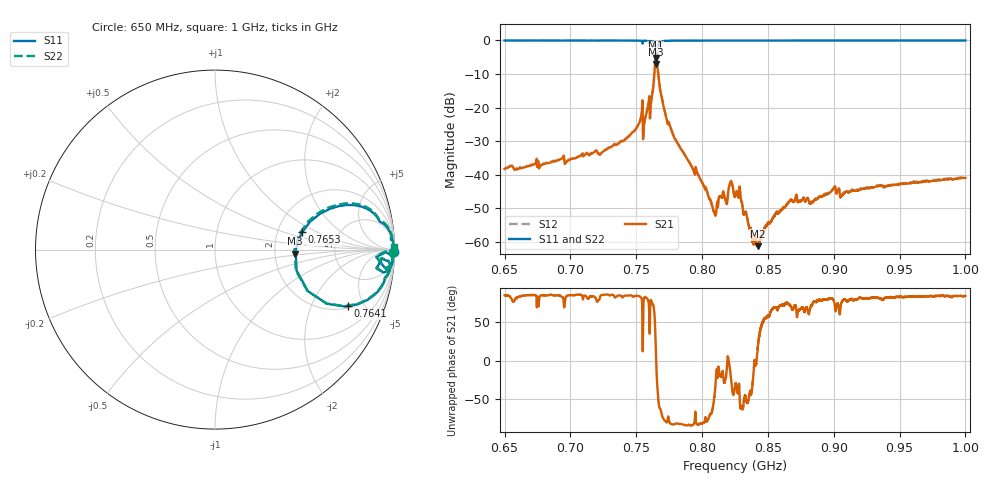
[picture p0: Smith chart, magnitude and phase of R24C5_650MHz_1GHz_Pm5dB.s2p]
!Keysight Technologies,N5221A,MY56011522,A.10.47.06
!Date: Tuesday, September 29, 2020 15:17:58
!Correction: S11(Full 2 Port(1,2))
!S21(Full 2 Port(1,2))
!S12(Full 2 Port(1,2))
!S22(Full 2 Port(1,2))
!S2P File: Measurements: S11, S21, S12, S22:
# Hz S  dB  R 50
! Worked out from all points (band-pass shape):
!   16001 points, 650 MHz to 1 GHz, reference 50 ohm
!   highest |S21| = -5.12 dB at 764.9 MHz (marker M1); lowest = -61.3 dB at 842.3 MHz (marker M2)
!   |S21| within 3 dB of the highest: 764.0912 MHz to 766.1493 MHz (2.058 MHz wide, 0.269 % of centre)
!   lowest |S11| = -7.0 dB at 765 MHz (marker M3), VSWR 2.62, Z = 130 - j7.42 ohm
!   |S11| at or under -10 dB: nowhere
!   |S22| runs from -7.1 to 0.0 dB; largest |S21 - S12| = 0.0074
!   S11 on the Smith chart (normalised r, x): 650 MHz: open; 764.1 MHz: 2.10, -3.79; 765.3 MHz: 2.75, +0.72; 1 GHz: open
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6.5e8  -0.04 -0.8  -38.29 85.4  -38.11 85.2  -0.05 -0.6
7.083406e8  -0.04 -1.1  -34.20 86.0  -34.03 85.8  -0.05 -0.7
7.232812e8  -0.04 -1.3  -33.62 85.4  -33.44 85.3  -0.05 -1.0
7.566406e8  -0.08 -3.9  -23.46 83.2  -23.24 83.0  -0.08 -3.7
7.618469e8  -0.26 -8.5  -16.58 76.1  -16.37 75.8  -0.27 -8.4
7.641438e8  -1.88 -23.1  -7.83 51.4  -7.69 51.0  -1.92 -23.1
7.648875e8  -6.77 -11.6  -5.12 9.9  -5.03 10.1  -6.85 -11.8
7.650188e8  -6.99 -2.9  -5.19 2.6  -5.09 2.8  -7.11 -2.8
7.653031e8  -6.10 11.4  -5.68 -10.6  -5.58 -10.6  -6.20 12.1
7.666812e8  -1.63 17.2  -9.90 -49.9  -9.74 -49.6  -1.67 18.0
7.69e8  -0.44 8.7  -16.26 -68.1  -16.08 -68.0  -0.45 9.3
7.746438e8  -0.14 3.4  -24.38 -76.4  -24.19 -76.4  -0.14 4.0
8.090312e8  -0.04 0.0  -51.06 -51.5  -50.90 -51.3  -0.04 0.3
8.216312e8  -0.10 0.1  -42.24 -17.2  -42.02 -17.4  -0.09 0.4
8.25e8  -0.06 0.1  -46.65 -34.3  -46.41 -34.3  -0.06 0.5
8.282375e8  -0.08 0.2  -44.38 -32.7  -44.17 -32.7  -0.07 0.6
8.422812e8  -0.04 -0.0  -61.29 16.1  -60.81 16.2  -0.03 0.6
8.665625e8  -0.04 -0.4  -47.90 72.9  -47.75 73.1  -0.04 0.2
8.833406e8  -0.04 -0.4  -48.18 72.2  -48.01 72.0  -0.03 0.0
8.99725e8  -0.04 -0.3  -44.20 79.2  -43.97 79.0  -0.01 0.1
9.416812e8  -0.03 -0.4  -43.32 82.7  -43.16 82.5  -0.03 0.2
1e9  -0.02 -0.6  -40.93 84.4  -40.76 84.6  0.00 0.8
